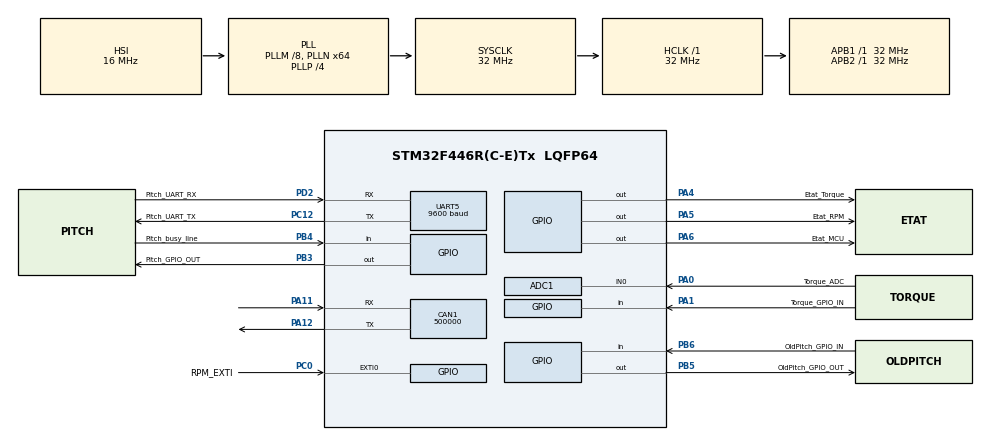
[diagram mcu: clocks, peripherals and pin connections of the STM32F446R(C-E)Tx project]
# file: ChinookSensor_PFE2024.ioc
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ADC1.Channel-13\#ChannelRegularConversion=ADC_CHANNEL_0
ADC1.ClockPrescaler=ADC_CLOCK_SYNC_PCLK_DIV2
ADC1.ContinuousConvMode=ENABLE
ADC1.ExternalTrigConv=ADC_EXTERNALTRIGCONV_T3_TRGO
ADC1.ExternalTrigConvEdge=ADC_EXTERNALTRIGCONVEDGE_RISING
ADC1.InjNumberOfConversion=0
ADC1.NbrOfConversion=1
ADC1.NbrOfConversionFlag=1
ADC1.Rank-13\#ChannelRegularConversion=1
ADC1.SamplingTime-13\#ChannelRegularConversion=ADC_SAMPLETIME_3CYCLES
ADC1.master=1
CAN1.BS2=CAN_BS2_2TQ
CAN1.CalculateBaudRate=500000
CAN1.CalculateTimeBit=2000
CAN1.CalculateTimeQuantum=500.0
Mcu.Family=STM32F4
Mcu.Name=STM32F446R(C-E)Tx
Mcu.Package=LQFP64
NVIC.ADC_IRQn=true\:10\:0\:true\:false\:true\:true\:true\:true
NVIC.EXTI0_IRQn=true\:4\:0\:true\:false\:true\:true\:true\:true
NVIC.PriorityGroup=NVIC_PRIORITYGROUP_4
NVIC.TIM2_IRQn=true\:6\:0\:true\:false\:true\:true\:true\:true
NVIC.UART5_IRQn=true\:8\:0\:true\:false\:true\:true\:true\:true
PA0-WKUP.GPIO_Label=Torque_ADC
PA0-WKUP.Signal=ADCx_IN0
PA1.GPIO_Label=Torque_GPIO_IN
PA1.GPIO_PuPd=GPIO_PULLDOWN
PA1.Signal=GPIO_Input
PA11.GPIO_PuPd=GPIO_PULLUP
PA11.Mode=CAN_Activate
PA11.Signal=CAN1_RX
PA12.GPIO_PuPd=GPIO_PULLUP
PA12.Mode=CAN_Activate
PA12.Signal=CAN1_TX
PA13.Mode=Serial_Wire
PA13.Signal=SYS_JTMS-SWDIO
PA14.Mode=Serial_Wire
PA14.Signal=SYS_JTCK-SWCLK
PA4.GPIO_Label=Etat_Torque
PA4.GPIO_ModeDefaultOutputPP=GPIO_MODE_OUTPUT_PP
PA4.GPIO_PuPd=GPIO_PULLDOWN
PA4.GPIO_Speed=GPIO_SPEED_FREQ_LOW
PA4.PinState=GPIO_PIN_RESET
PA4.Signal=GPIO_Output
PA5.GPIO_Label=Etat_RPM
PA5.GPIO_PuPd=GPIO_PULLDOWN
PA5.Signal=GPIO_Output
PA6.GPIO_Label=Etat_MCU
PA6.GPIO_PuPd=GPIO_PULLDOWN
PA6.Signal=GPIO_Output
PB3.GPIO_Label=Pitch_GPIO_OUT
PB3.GPIO_ModeDefaultOutputPP=GPIO_MODE_OUTPUT_PP
PB3.GPIO_PuPd=GPIO_PULLDOWN
PB3.GPIO_Speed=GPIO_SPEED_FREQ_LOW
PB3.Signal=GPIO_Output
PB4.GPIO_Label=Pitch_busy_line
PB4.GPIO_PuPd=GPIO_PULLDOWN
PB4.Signal=GPIO_Input
PB5.GPIO_Label=OldPitch_GPIO_OUT
PB5.GPIO_PuPd=GPIO_PULLDOWN
PB5.Signal=GPIO_Output
PB6.GPIO_Label=OldPitch_GPIO_IN
PB6.GPIO_PuPd=GPIO_PULLDOWN
PB6.Signal=GPIO_Input
PC0.GPIO_Label=RPM_EXTI
PC0.GPIO_ModeDefaultEXTI=GPIO_MODE_IT_RISING
PC0.GPIO_PuPd=GPIO_PULLDOWN
PC0.Signal=GPXTI0
PC12.GPIO_Label=Pitch_UART_TX
PC12.GPIO_PuPd=GPIO_PULLUP
PC12.Mode=Asynchronous
PC12.Signal=UART5_TX
PC13.Mode=SYS_WakeUp1
PC13.Signal=SYS_WKUP1
PD2.GPIO_Label=Pitch_UART_RX
PD2.GPIO_PuPd=GPIO_PULLUP
PD2.Mode=Asynchronous
PD2.Signal=UART5_RX
ProjectManager.HeapSize=0x200
ProjectManager.StackSize=0x400
ProjectManager.TargetToolchain=STM32CubeIDE
RCC.AHBFreq_Value=32000000
RCC.APB1Freq_Value=32000000
RCC.APB1TimFreq_Value=32000000
RCC.APB2Freq_Value=32000000
RCC.APB2TimFreq_Value=32000000
RCC.CortexFreq_Value=32000000
RCC.HCLKFreq_Value=32000000
RCC.PLLM=8
RCC.PLLN=64
RCC.PLLP=RCC_PLLP_DIV4
RCC.SYSCLKFreq_VALUE=32000000
RCC.SYSCLKSource=RCC_SYSCLKSOURCE_PLLCLK
RCC.USBFreq_Value=64000000
RCC.VCOOutputFreq_Value=128000000
SH.ADCx_IN0.0=ADC1_IN0,IN0
TIM2.Channel-Output\ Compare1\ No\ Output=TIM_CHANNEL_1
TIM2.OCMode_1=TIM_OCMODE_TOGGLE
TIM2.Period=90000000
TIM2.Prescaler=32
TIM2.Pulse-Output\ Compare1\ No\ Output=90000000
TIM2.TIM_MasterOutputTrigger=TIM_TRGO_OC1REF
TIM2.TIM_MasterSlaveMode=TIM_MASTERSLAVEMODE_DISABLE
TIM3.AutoReloadPreload=TIM_AUTORELOAD_PRELOAD_DISABLE
TIM3.Channel-PWM\ Generation1\ No\ Output=TIM_CHANNEL_1
TIM3.ClockDivision=TIM_CLOCKDIVISION_DIV1
TIM3.Period=20000
TIM3.Prescaler=8
TIM3.TIM_MasterOutputTrigger=TIM_TRGO_UPDATE
UART5.BaudRate=9600
UART5.OverSampling=UART_OVERSAMPLING_8
UART5.VirtualMode=Asynchronous
VP_TIM2_VS_ClockSourceINT.Mode=Internal
VP_TIM2_VS_no_output1.Mode=Output Compare1 No Output
VP_TIM3_VS_ClockSourceINT.Mode=Internal
VP_TIM3_VS_no_output1.Mode=PWM Generation1 No Output
board=custom

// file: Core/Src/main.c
/* USER CODE BEGIN Header */
/**
  ******************************************************************************
  * @file           : main.c
  * @brief          : Main program body
  ******************************************************************************
  * @attention
  *
  * Copyright (c) 2024 STMicroelectronics.
  * All rights reserved.
  *
  * This software is licensed under terms that can be found in the LICENSE file
  * in the root directory of this software component.
  * If no LICENSE file comes with this software, it is provided AS-IS.
  *
  ******************************************************************************
  */
/* USER CODE END Header */
#include "main.h"
#include "adc.h"
#include "can.h"
#include "tim.h"
#include "usart.h"
#include "gpio.h"

/* USER CODE BEGIN Includes */
#include "pitch.h"
#include "rpm.h"
#include "torque.h"
/* USER CODE END Includes */

void SystemClock_Config(void);

/* USER CODE BEGIN 0 */

// Variables pour l'encodeur du pitch
extern uint8_t checksum[1];

extern uint8_t position_rx_buff[2];
extern uint8_t position_time_rx_buff[4];
extern uint8_t position_time_status_rx_buff[5];

extern uint8_t serial_number_rx_buff[5];
extern uint8_t address_rx_buff[2];
extern uint8_t factory_info_rx_buff[15];
extern uint8_t resolution_rx_buff[3];
extern uint8_t mode_rx_buff[3];

// CAN bus variables
CAN_RxHeaderTypeDef rxHeader; //CAN Bus Transmit Header
CAN_TxHeaderTypeDef txHeader; //CAN Bus Receive Header
uint8_t canRX[8] = {0,0,0,0,0,0,0,0};  //CAN Bus Receive Buffer
CAN_FilterTypeDef canfil; //CAN Bus Filter
uint32_t canMailbox; //CAN Bus Mail box variable

/* USER CODE END 0 */

int main(void)
{

  /* MCU Configuration--------------------------------------------------------*/

  /* Reset of all peripherals, Initializes the Flash interface and the Systick. */
  HAL_Init();

  /* Configure the system clock */
  SystemClock_Config();

  /* Initialize all configured peripherals */
  MX_GPIO_Init();
  MX_ADC1_Init();
  MX_CAN1_Init();
  MX_UART5_Init();
  MX_TIM2_Init();
  MX_TIM3_Init();
  /* USER CODE BEGIN 2 */
  HAL_TIM_Base_Start(&htim3); // Timer utilisé pour cadencer l'acquisition automatique avec l'ADC
  HAL_TIM_Base_Start_IT(&htim2); // Timer utilisé pour mesurer des intervalles de temps entre les pulse sur l'EXTI
  HAL_ADC_Start_IT(&hadc1); // ADC qui mesure le torque automatiquement à tous les 5 ms

  pitch_Init(&huart5, ADDR_ENCODEUR);
  uint8_t request = SB_cmd(ADDR_ENCODEUR,REQUEST_POSITION);

  canfil.FilterBank = 0;
  canfil.FilterMode = CAN_FILTERMODE_IDMASK;
  canfil.FilterFIFOAssignment = CAN_RX_FIFO0;
  canfil.FilterIdHigh = 0;
  canfil.FilterIdLow = 0;
  canfil.FilterMaskIdHigh = 0;
  canfil.FilterMaskIdLow = 0;
  canfil.FilterScale = CAN_FILTERSCALE_32BIT;
  canfil.FilterActivation = ENABLE;
  canfil.SlaveStartFilterBank = 14;

  txHeader.DLC = 8; // Number of bites to be transmitted max- 8
  txHeader.IDE = CAN_ID_STD;
  txHeader.RTR = CAN_RTR_DATA;
  txHeader.StdId = 0x030;
  txHeader.ExtId = 0x02;
  txHeader.TransmitGlobalTime = DISABLE;

  HAL_CAN_ConfigFilter(&hcan1,&canfil); //Initialize CAN Filter
  HAL_CAN_Start(&hcan1); //Initialize CAN Bus
  //HAL_CAN_ActivateNotification(&hcan,CAN_IT_RX_FIFO0_MSG_PENDING);// Initialize CAN Bus Rx Interrupt

  uint8_t csend[] = {0x01,0x02,0x03,0x04,0x05,0x06,0x07,0x08}; // Tx Buffer

  pitch_Init(&huart5, ADDR_ENCODEUR);

  /* USER CODE END 2 */

  /* Infinite loop */
  while (1)
  {

    /* USER CODE BEGIN 3 */

	  pitch_send_SB_cmd(&huart5, request);

	  HAL_Delay(1000);
	  //HAL_CAN_AddTxMessage(&hcan1,&txHeader,csend,&canMailbox); // Send Message
  }
  /* USER CODE END 3 */
}

void SystemClock_Config(void)
{
  RCC_OscInitTypeDef RCC_OscInitStruct = {0};
  RCC_ClkInitTypeDef RCC_ClkInitStruct = {0};

  /** Configure the main internal regulator output voltage
  */
  __HAL_RCC_PWR_CLK_ENABLE();
  __HAL_PWR_VOLTAGESCALING_CONFIG(PWR_REGULATOR_VOLTAGE_SCALE3);

  /** Initializes the RCC Oscillators according to the specified parameters
  * in the RCC_OscInitTypeDef structure.
  */
  RCC_OscInitStruct.OscillatorType = RCC_OSCILLATORTYPE_HSI;
  RCC_OscInitStruct.HSIState = RCC_HSI_ON;
  RCC_OscInitStruct.HSICalibrationValue = RCC_HSICALIBRATION_DEFAULT;
  RCC_OscInitStruct.PLL.PLLState = RCC_PLL_ON;
  RCC_OscInitStruct.PLL.PLLSource = RCC_PLLSOURCE_HSI;
  RCC_OscInitStruct.PLL.PLLM = 8;
  RCC_OscInitStruct.PLL.PLLN = 64;
  RCC_OscInitStruct.PLL.PLLP = RCC_PLLP_DIV4;
  RCC_OscInitStruct.PLL.PLLQ = 2;
  RCC_OscInitStruct.PLL.PLLR = 2;
  if (HAL_RCC_OscConfig(&RCC_OscInitStruct) != HAL_OK)
  {
    Error_Handler();
  }

  /** Initializes the CPU, AHB and APB buses clocks
  */
  RCC_ClkInitStruct.ClockType = RCC_CLOCKTYPE_HCLK|RCC_CLOCKTYPE_SYSCLK
                              |RCC_CLOCKTYPE_PCLK1|RCC_CLOCKTYPE_PCLK2;
  RCC_ClkInitStruct.SYSCLKSource = RCC_SYSCLKSOURCE_PLLCLK;
  RCC_ClkInitStruct.AHBCLKDivider = RCC_SYSCLK_DIV1;
  RCC_ClkInitStruct.APB1CLKDivider = RCC_HCLK_DIV1;
  RCC_ClkInitStruct.APB2CLKDivider = RCC_HCLK_DIV1;

  if (HAL_RCC_ClockConfig(&RCC_ClkInitStruct, FLASH_LATENCY_1) != HAL_OK)
  {
    Error_Handler();
  }
}

void Error_Handler(void)
{
  __disable_irq();
  while (1)
  {
  }
}
